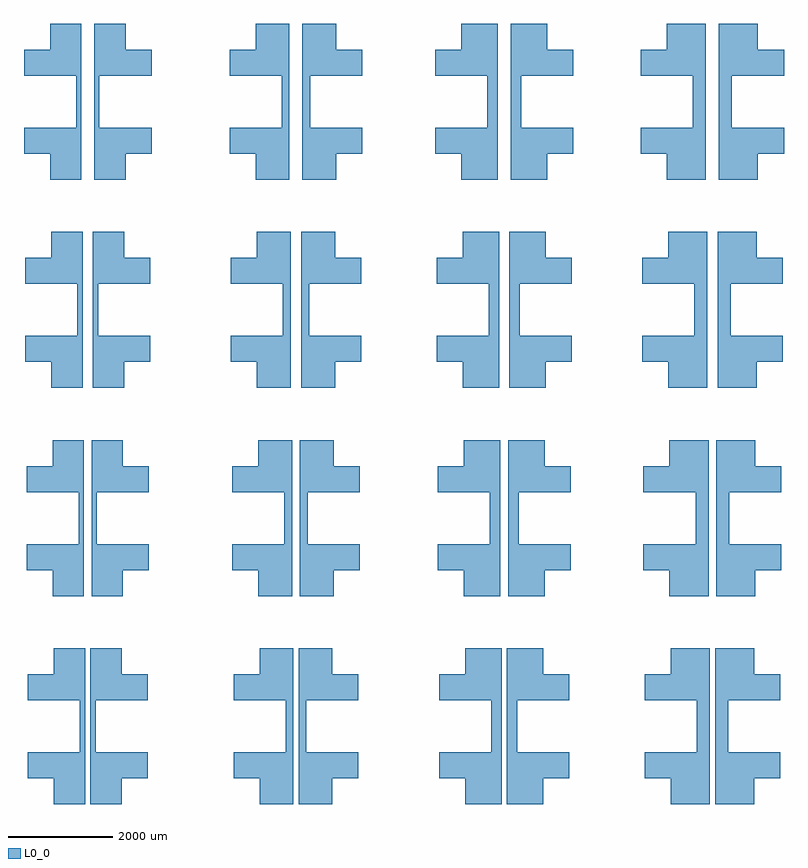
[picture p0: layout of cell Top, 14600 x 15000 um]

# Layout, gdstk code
import gdstk
lib = gdstk.Library(unit=1e-6, precision=1e-09)
def R(c, l, rs):  # rectangles x0, y0, x1, y1
    for r in rs: c.add(gdstk.rectangle(r[:2], r[2:], *l))
def P(c, l, *ps):  # polygons
    for p in ps: c.add(gdstk.Polygon(p, *l))
L0_0 = (0, 0)

top = lib.new_cell('Top')
R(top, L0_0, [(-150,-1500,-50,1500), (50,-1500,150,1500), (3800,-1500,3950,1500), (4050,-1500,4200,1500), (7750,-1500,7950,1500), (8050,-1500,8250,1500), (11700,-1500,11950,1500), (12050,-1500,12300,1500), (-175,2500,-75,5500), (75,2500,175,5500), (3775,2500,3925,5500), (4075,2500,4225,5500), (7725,2500,7925,5500), (8075,2500,8275,5500), (11675,2500,11925,5500), (12075,2500,12325,5500), (-200,6500,-100,9500), (100,6500,200,9500), (3750,6500,3900,9500), (4100,6500,4250,9500), (7700,6500,7900,9500), (8100,6500,8300,9500), (11650,6500,11900,9500), (12100,6500,12350,9500), (-225,10500,-125,13500), (125,10500,225,13500), (3725,10500,3875,13500), (4125,10500,4275,13500), (7675,10500,7875,13500), (8125,10500,8325,13500), (11625,10500,11875,13500), (12125,10500,12375,13500)])
P(top, L0_0, [(-150,500),(-1150,500),(-1150,1000),(-650,1000),(-650,1500),(-150,1500)],
  [(-150,-500),(-1150,-500),(-1150,-1000),(-650,-1000),(-650,-1500),(-150,-1500)],
  [(150,500),(1150,500),(1150,1000),(650,1000),(650,1500),(150,1500)],
  [(150,-500),(1150,-500),(1150,-1000),(650,-1000),(650,-1500),(150,-1500)],
  [(-175,4500),(-1175,4500),(-1175,5000),(-675,5000),(-675,5500),(-175,5500)],
  [(-175,3500),(-1175,3500),(-1175,3000),(-675,3000),(-675,2500),(-175,2500)],
  [(175,4500),(1175,4500),(1175,5000),(675,5000),(675,5500),(175,5500)],
  [(175,3500),(1175,3500),(1175,3000),(675,3000),(675,2500),(175,2500)],
  [(-200,8500),(-1200,8500),(-1200,9000),(-700,9000),(-700,9500),(-200,9500)],
  [(-200,7500),(-1200,7500),(-1200,7000),(-700,7000),(-700,6500),(-200,6500)],
  [(200,8500),(1200,8500),(1200,9000),(700,9000),(700,9500),(200,9500)],
  [(200,7500),(1200,7500),(1200,7000),(700,7000),(700,6500),(200,6500)],
  [(-225,12500),(-1225,12500),(-1225,13000),(-725,13000),(-725,13500),(-225,13500)],
  [(-225,11500),(-1225,11500),(-1225,11000),(-725,11000),(-725,10500),(-225,10500)],
  [(225,12500),(1225,12500),(1225,13000),(725,13000),(725,13500),(225,13500)],
  [(225,11500),(1225,11500),(1225,11000),(725,11000),(725,10500),(225,10500)],
  [(3800,500),(2800,500),(2800,1000),(3300,1000),(3300,1500),(3800,1500)],
  [(3800,-500),(2800,-500),(2800,-1000),(3300,-1000),(3300,-1500),(3800,-1500)],
  [(4200,500),(5200,500),(5200,1000),(4700,1000),(4700,1500),(4200,1500)],
  [(4200,-500),(5200,-500),(5200,-1000),(4700,-1000),(4700,-1500),(4200,-1500)],
  [(3775,4500),(2775,4500),(2775,5000),(3275,5000),(3275,5500),(3775,5500)],
  [(3775,3500),(2775,3500),(2775,3000),(3275,3000),(3275,2500),(3775,2500)],
  [(4225,4500),(5225,4500),(5225,5000),(4725,5000),(4725,5500),(4225,5500)],
  [(4225,3500),(5225,3500),(5225,3000),(4725,3000),(4725,2500),(4225,2500)],
  [(3750,8500),(2750,8500),(2750,9000),(3250,9000),(3250,9500),(3750,9500)],
  [(3750,7500),(2750,7500),(2750,7000),(3250,7000),(3250,6500),(3750,6500)],
  [(4250,8500),(5250,8500),(5250,9000),(4750,9000),(4750,9500),(4250,9500)],
  [(4250,7500),(5250,7500),(5250,7000),(4750,7000),(4750,6500),(4250,6500)],
  [(3725,12500),(2725,12500),(2725,13000),(3225,13000),(3225,13500),(3725,13500)],
  [(3725,11500),(2725,11500),(2725,11000),(3225,11000),(3225,10500),(3725,10500)],
  [(4275,12500),(5275,12500),(5275,13000),(4775,13000),(4775,13500),(4275,13500)],
  [(4275,11500),(5275,11500),(5275,11000),(4775,11000),(4775,10500),(4275,10500)],
  [(7750,500),(6750,500),(6750,1000),(7250,1000),(7250,1500),(7750,1500)],
  [(7750,-500),(6750,-500),(6750,-1000),(7250,-1000),(7250,-1500),(7750,-1500)],
  [(8250,500),(9250,500),(9250,1000),(8750,1000),(8750,1500),(8250,1500)],
  [(8250,-500),(9250,-500),(9250,-1000),(8750,-1000),(8750,-1500),(8250,-1500)],
  [(7725,4500),(6725,4500),(6725,5000),(7225,5000),(7225,5500),(7725,5500)],
  [(7725,3500),(6725,3500),(6725,3000),(7225,3000),(7225,2500),(7725,2500)],
  [(8275,4500),(9275,4500),(9275,5000),(8775,5000),(8775,5500),(8275,5500)],
  [(8275,3500),(9275,3500),(9275,3000),(8775,3000),(8775,2500),(8275,2500)],
  [(7700,8500),(6700,8500),(6700,9000),(7200,9000),(7200,9500),(7700,9500)],
  [(7700,7500),(6700,7500),(6700,7000),(7200,7000),(7200,6500),(7700,6500)],
  [(8300,8500),(9300,8500),(9300,9000),(8800,9000),(8800,9500),(8300,9500)],
  [(8300,7500),(9300,7500),(9300,7000),(8800,7000),(8800,6500),(8300,6500)],
  [(7675,12500),(6675,12500),(6675,13000),(7175,13000),(7175,13500),(7675,13500)],
  [(7675,11500),(6675,11500),(6675,11000),(7175,11000),(7175,10500),(7675,10500)],
  [(8325,12500),(9325,12500),(9325,13000),(8825,13000),(8825,13500),(8325,13500)],
  [(8325,11500),(9325,11500),(9325,11000),(8825,11000),(8825,10500),(8325,10500)],
  [(11700,500),(10700,500),(10700,1000),(11200,1000),(11200,1500),(11700,1500)],
  [(11700,-500),(10700,-500),(10700,-1000),(11200,-1000),(11200,-1500),(11700,-1500)],
  [(12300,500),(13300,500),(13300,1000),(12800,1000),(12800,1500),(12300,1500)],
  [(12300,-500),(13300,-500),(13300,-1000),(12800,-1000),(12800,-1500),(12300,-1500)],
  [(11675,4500),(10675,4500),(10675,5000),(11175,5000),(11175,5500),(11675,5500)],
  [(11675,3500),(10675,3500),(10675,3000),(11175,3000),(11175,2500),(11675,2500)],
  [(12325,4500),(13325,4500),(13325,5000),(12825,5000),(12825,5500),(12325,5500)],
  [(12325,3500),(13325,3500),(13325,3000),(12825,3000),(12825,2500),(12325,2500)],
  [(11650,8500),(10650,8500),(10650,9000),(11150,9000),(11150,9500),(11650,9500)],
  [(11650,7500),(10650,7500),(10650,7000),(11150,7000),(11150,6500),(11650,6500)],
  [(12350,8500),(13350,8500),(13350,9000),(12850,9000),(12850,9500),(12350,9500)],
  [(12350,7500),(13350,7500),(13350,7000),(12850,7000),(12850,6500),(12350,6500)],
  [(11625,12500),(10625,12500),(10625,13000),(11125,13000),(11125,13500),(11625,13500)],
  [(11625,11500),(10625,11500),(10625,11000),(11125,11000),(11125,10500),(11625,10500)],
  [(12375,12500),(13375,12500),(13375,13000),(12875,13000),(12875,13500),(12375,13500)],
  [(12375,11500),(13375,11500),(13375,11000),(12875,11000),(12875,10500),(12375,10500)])

lib.write_gds('Top.gds')
